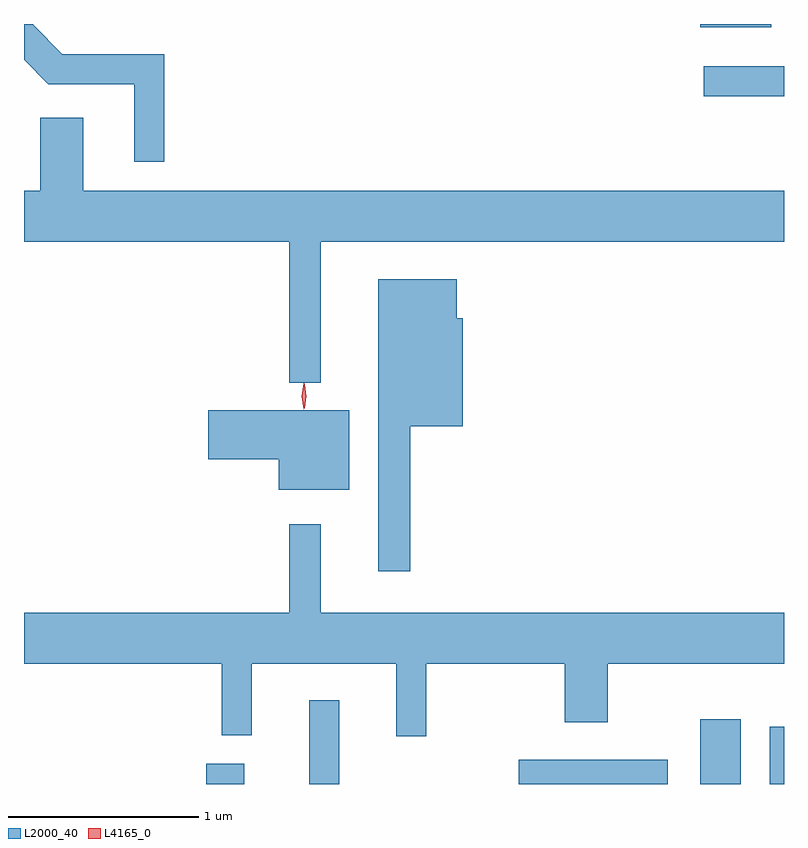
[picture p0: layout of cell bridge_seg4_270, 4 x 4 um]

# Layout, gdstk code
import gdstk
lib = gdstk.Library(unit=1e-6, precision=1e-09)
def R(c, l, rs):  # rectangles x0, y0, x1, y1
    for r in rs: c.add(gdstk.rectangle(r[:2], r[2:], *l))
def P(c, l, *ps):  # polygons
    for p in ps: c.add(gdstk.Polygon(p, *l))
L2000_40 = (2000, 40)
L4165_0 = (4165, 0)

bridge_seg4_270 = lib.new_cell('bridge_seg4_270')
R(bridge_seg4_270, L2000_40, [(536.816,1369.582,537.014,1369.689), (537.356,1369.582,537.514,1370.023), (538.461,1369.582,539.244,1369.709), (539.416,1369.582,539.629,1369.924), (539.781,1369.582,539.856,1369.884), (539.433,1373.201,539.856,1373.359), (539.416,1373.566,539.789,1373.582)])
P(bridge_seg4_270, L2000_40, [(536.594,1373.424),(536.057,1373.424),(535.904,1373.577),(535.904,1373.582),(535.856,1373.582),(535.856,1373.394),(535.984,1373.266),(536.436,1373.266),(536.436,1372.858),(536.594,1372.858)],
  [(537.419,1372.436),(539.856,1372.436),(539.856,1372.704),(536.169,1372.704),(536.169,1373.089),(535.941,1373.089),(535.941,1372.704),(535.856,1372.704),(535.856,1372.436),(537.251,1372.436),(537.251,1371.693),(537.419,1371.693)],
  [(537.889,1371.466),(538.164,1371.466),(538.164,1372.034),(538.134,1372.034),(538.134,1372.239),(537.721,1372.239),(537.721,1370.703),(537.889,1370.703)],
  [(537.569,1371.549),(536.826,1371.549),(536.826,1371.291),(537.196,1371.291),(537.196,1371.131),(537.569,1371.131)],
  [(537.974,1370.216),(538.701,1370.216),(538.701,1369.906),(538.929,1369.906),(538.929,1370.216),(539.856,1370.216),(539.856,1370.484),(537.419,1370.484),(537.419,1370.948),(537.251,1370.948),(537.251,1370.484),(535.856,1370.484),(535.856,1370.216),(536.896,1370.216),(536.896,1369.838),(537.054,1369.838),(537.054,1370.216),(537.816,1370.216),(537.816,1369.833),(537.974,1369.833)])
P(bridge_seg4_270, L4165_0, [(537.332,1371.56),(537.332,1371.56),(537.322,1371.623),(537.332,1371.686),(537.332,1371.687),(537.333,1371.686),(537.342,1371.623),(537.333,1371.56)],
  [(537.328,1371.554),(537.328,1371.554),(537.319,1371.622),(537.329,1371.69),(537.33,1371.69),(537.33,1371.69),(537.339,1371.622),(537.329,1371.554)])

lib.write_gds('bridge_seg4_270.gds')
